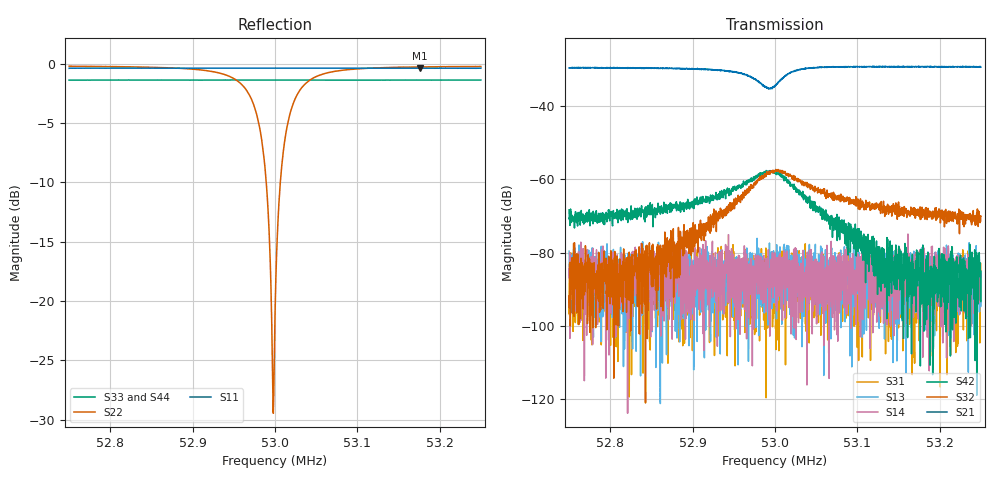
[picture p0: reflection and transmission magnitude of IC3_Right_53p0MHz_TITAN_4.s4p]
#  HZ  S  DB  R  50.00
! Rohde & Schwarz Vector Network Analyzer
! Rohde-Schwarz,ZNB8-4Port,1311601044102961,2.82
! Created: UTC 2/8/2019, 3:15:09 PM
! freq[Hz]  db:S11  ang:S11  db:S12  ang:S12  db:S13  ang:S13  db:S14  ang:S14
!  db:S21  ang:S21  db:S22  ang:S22  db:S23  ang:S23  db:S24  ang:S24
!  db:S31  ang:S31  db:S32  ang:S32  db:S33  ang:S33  db:S34  ang:S34
!  db:S41  ang:S41  db:S42  ang:S42  db:S43  ang:S43  db:S44  ang:S44
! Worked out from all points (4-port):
!   2001 points, 52.75 MHz to 53.25 MHz, reference 50 ohm
!   strongest paths, dB at 52.75 MHz, 52.875 MHz, 53 MHz, 53.125 MHz, 53.25 MHz:
!     S21: -29.5, -29.6, -34.5, -29.1, -29.2
!     S32: -95.0, -79.3, -57.5, -66.9, -70.0
!     S42: -68.3, -67.3, -57.7, -81.1, -85.1
!     S14: -86.9, -103.7, -81.5, -85.3, -86.7
!     S13: -79.6, -81.9, -82.6, -86.4, -86.4
!     S31: -92.9, -81.4, -85.6, -92.0, -90.4
!   lowest |S11| = -0.4 dB at 53.1755 MHz (marker M1), VSWR 45.49, Z = 1.23 + j17.3 ohm
!   |S11| at or under -10 dB: nowhere
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5.275e7  -0.38 150.6  -29.40 132.2  -79.62 -21.8  -86.87 105.2
         -29.46 132.1  -0.21 -64.6  -85.14 -39.8  -69.16 -90.5
         -92.86 -115.0  -95.04 -173.0  -1.38 72.0  -84.19 -146.9
         -87.65 -125.3  -68.32 -81.0  -85.96 120.6  -1.39 78.8
5.287925e7  -0.37 147.9  -29.63 124.8  -91.79 37.2  -77.83 101.0
            -29.60 125.4  -0.36 -76.9  -77.80 83.9  -68.14 -97.1
            -85.65 107.6  -80.53 115.3  -1.37 70.4  -85.62 133.4
            -82.89 163.9  -67.44 -96.5  -82.02 165.9  -1.39 77.2
5.296475e7  -0.37 146.1  -31.31 113.5  -100.23 -63.5  -96.04 151.4
            -31.36 114.5  -2.17 -105.4  -62.93 46.6  -61.25 -121.6
            -91.52 -148.2  -63.50 52.1  -1.36 69.3  -88.31 70.9
            -88.59 -9.3  -60.53 -116.5  -86.05 124.9  -1.39 76.2
5.2998e7  -0.37 145.4  -34.66 140.1  -82.51 168.1  -87.24 -76.9
          -34.55 140.6  -29.47 -67.2  -57.80 -6.6  -58.24 -174.9
          -97.96 -140.5  -57.53 -6.7  -1.37 68.9  -85.76 53.7
          -86.64 67.5  -58.04 -174.6  -84.58 58.0  -1.39 75.8
5.302625e7  -0.37 144.8  -30.11 145.2  -84.54 -69.0  -88.20 -127.5
            -30.10 145.4  -2.70 -32.7  -60.05 -55.1  -63.21 135.5
            -88.38 34.2  -60.23 -53.1  -1.37 68.6  -82.55 23.6
            -85.94 7.1  -62.60 142.0  -87.50 -104.1  -1.39 75.4
5.31755e7  -0.38 141.8  -29.10 124.4  -84.78 39.8  -96.52 -78.6
           -29.11 124.5  -0.27 -72.5  -69.61 -96.0  -94.21 -142.3
           -83.59 -126.5  -67.95 -87.8  -1.37 66.8  -94.52 -98.0
           -83.93 6.3  -85.09 -146.9  -81.90 -33.2  -1.39 73.6
5.325e7  -0.37 140.3  -29.21 120.6  -86.36 -147.7  -86.72 143.9
         -29.22 120.8  -0.23 -78.5  -70.97 -101.1  -87.26 -53.9
         -90.35 -41.9  -70.04 -94.5  -1.37 65.9  -89.62 165.2
         -83.55 -157.3  -85.08 -125.3  -92.01 -147.2  -1.39 72.7
